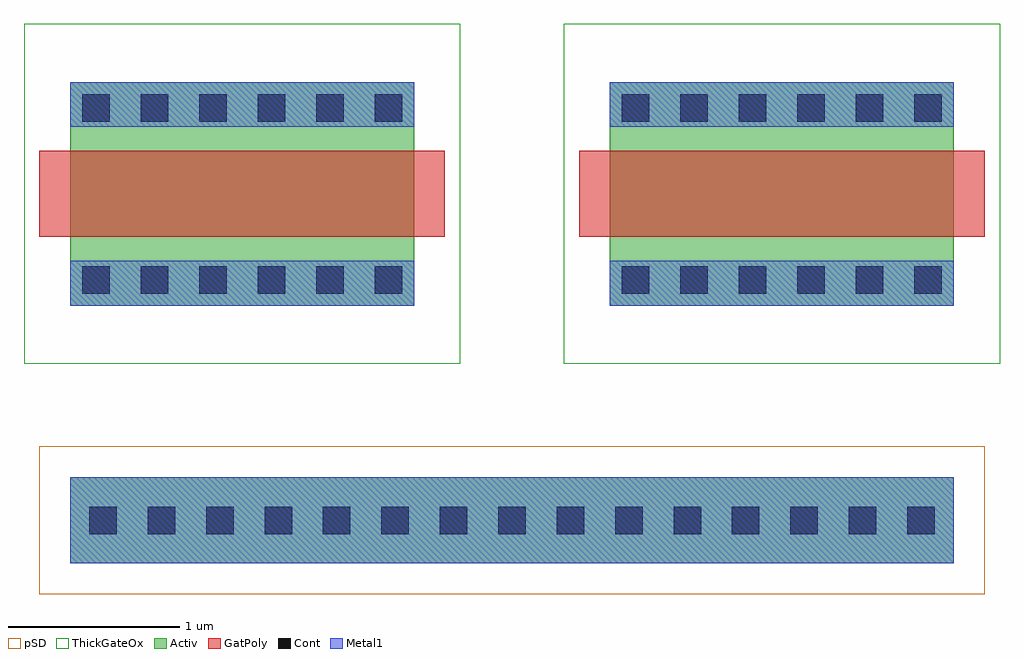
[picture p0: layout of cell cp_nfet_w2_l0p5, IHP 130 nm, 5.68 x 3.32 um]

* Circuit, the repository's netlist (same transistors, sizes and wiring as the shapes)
* extracted by klt extract --deck sg13cmos5l

* cell cp_nfet_w2_l0p5
* pin vsubs
.SUBCKT cp_nfet_w2_l0p5 vsubs
* device instance $1 r0 *1 2.3,3.11 nfet
X$1 \$3 \$1 \$4 vsubs sg13_hv_nmos L=0.5U W=2U AS=0.8P AD=0.8P PS=4.8U PD=4.8U
* device instance $2 r0 *1 6.26,3.11 nfet
X$2 \$5 \$2 \$6 vsubs sg13_hv_nmos L=0.5U W=2U AS=0.8P AD=0.8P PS=4.8U PD=4.8U
.ENDS cp_nfet_w2_l0p5

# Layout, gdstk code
import gdstk
lib = gdstk.Library(unit=1e-6, precision=1e-09)
def R(c, l, rs):  # rectangles x0, y0, x1, y1
    for r in rs: c.add(gdstk.rectangle(r[:2], r[2:], *l))
def A(c, l, x, y, w, h, nx, ny, dx, dy):  # array of equal rectangles
    R(c, l, [(x+i*dx, y+j*dy, x+i*dx+w, y+j*dy+h) for i in range(nx) for j in range(ny)])
Activ = (1, 0)
GatPoly = (5, 0)
Cont = (6, 0)
Metal1 = (8, 0)
pSD = (14, 0)
ThickGateOx = (44, 0)

cp_nfet_w2_l0p5 = lib.new_cell('cp_nfet_w2_l0p5')
R(cp_nfet_w2_l0p5, Activ, [(0.89,0.96,6.03,1.46), (0.89,2.46,2.89,3.76), (4.03,2.46,6.03,3.76)])
R(cp_nfet_w2_l0p5, GatPoly, [(0.71,2.86,3.07,3.36), (3.85,2.86,6.21,3.36)])
A(cp_nfet_w2_l0p5, Cont, 1, 1.13, 0.16, 0.16, 15, 1, 0.34, 0)
A(cp_nfet_w2_l0p5, Cont, 0.96, 2.53, 0.16, 0.16, 6, 2, 0.34, 1)
A(cp_nfet_w2_l0p5, Cont, 4.1, 2.53, 0.16, 0.16, 6, 2, 0.34, 1)
R(cp_nfet_w2_l0p5, Metal1, [(0.89,0.96,6.03,1.46), (0.89,2.46,2.89,2.72), (4.03,2.46,6.03,2.72), (0.89,3.5,2.89,3.76), (4.03,3.5,6.03,3.76)])
R(cp_nfet_w2_l0p5, pSD, [(0.71,0.78,6.21,1.64)])
R(cp_nfet_w2_l0p5, ThickGateOx, [(0.62,2.12,3.16,4.1), (3.76,2.12,6.3,4.1)])

lib.write_gds('cp_nfet_w2_l0p5.gds')
